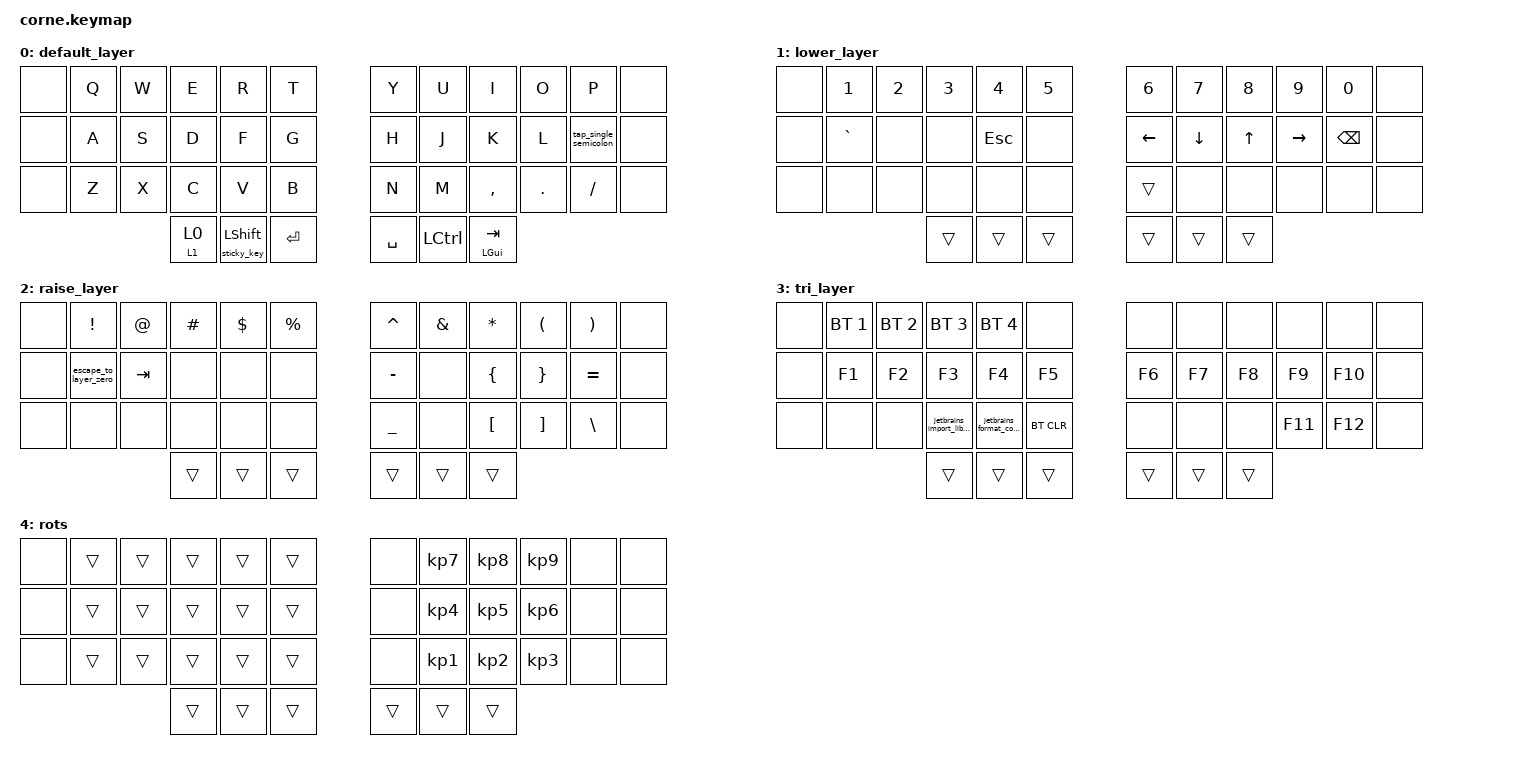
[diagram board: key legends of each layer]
/*
 * Copyright (c) 2020 The ZMK Contributors
 *
 * SPDX-License-Identifier: MIT
 */

#include <behaviors.dtsi>
#include <dt-bindings/zmk/bt.h>
#include <dt-bindings/zmk/keys.h>

/ {
    behaviors {
        hm: homerow_mods {
            compatible = "zmk,behavior-hold-tap";
            label = "Homerow Mods";
            #binding-cells = <2>;
            tapping-term-ms = <200>;
            quick-tap-ms = <0>;
            flavor = "tap-preferred";
            bindings = <&kp>, <&kp>;
        };

        tap_single_semicolon: tap_single_semicolon {
            compatible = "zmk,behavior-tap-dance";
            label = "TAP_SINGLE_SEMICOLON";
            #binding-cells = <0>;
            bindings = <&kp SEMICOLON>, <&kp SINGLE_QUOTE>;

            tapping-term-ms = <200>;
        };

        tap_hold_layers: tap_hold_layers {
            compatible = "zmk,behavior-hold-tap";
            label = "TAP_HOLD_LAYERS";
            bindings = <&mo>, <&to>;

            #binding-cells = <2>;
            tapping-term-ms = <150>;
            flavor = "tap-preferred";
        };

        sticky_key: sticky_key {
            compatible = "zmk,behavior-sticky-key";
            label = "STICKY_KEY";
            bindings = <&kp>;
            #binding-cells = <1>;
            quick-release;
            ignore-modifiers;
            release-after-ms = <1000>;
        };

        tap_hold_kp: tap_hold_kp {
            compatible = "zmk,behavior-hold-tap";
            label = "TAP_HOLD_KP";
            bindings = <&kp>, <&kp>;

            #binding-cells = <2>;
            tapping-term-ms = <150>;
            flavor = "tap-preferred";
        };
    };

    combos {
        compatible = "zmk,combos";

        alt_tab {
            bindings = <&kp LA(TAB)>;
            key-positions = <38 13>;
            layers = <0 1 3 2>;
            timeout-ms = <500>;
        };

        toggle_default_layer {
            bindings = <&to 0>;
            key-positions = <13 36>;
            layers = <0 2 3 1>;
            timeout-ms = <1000>;
        };

        toggle_lower_layer {
            bindings = <&to 1>;
            key-positions = <14 36>;
            timeout-ms = <1000>;
            layers = <0 2 3 1>;
        };

        toggle_raised_layer {
            bindings = <&to 2>;
            key-positions = <15 36>;
            timeout-ms = <1000>;
            layers = <0 2 3 1>;
        };

        toggle_tri_layer {
            bindings = <&to 3>;
            key-positions = <16 36>;
            timeout-ms = <1000>;
            layers = <0 2 1 3>;
        };

        toggle_rots_layer {
            bindings = <&to 4>;
            key-positions = <36 17>;
            timeout-ms = <1000>;
            layers = <0 1 2 3 4>;
        };
    };

    macros {
        escape_to_layer_zero: escape_to_layer_zero {
            compatible = "zmk,behavior-macro";
            #binding-cells = <0>;
            bindings = <&kp ESCAPE &to 0>;
            label = "ESCAPE_TO_LAYER_ZERO";
        };

        jetbrains_format_code: jetbrains_format_code {
            compatible = "zmk,behavior-macro";
            #binding-cells = <0>;
            bindings = <&kp LC(LA(L)) &to 0>;
            label = "JETBRAINS_FORMAT_CODE";
        };

        jetbrains_import_library: jetbrains_import_library {
            compatible = "zmk,behavior-macro";
            #binding-cells = <0>;
            bindings = <&kp LA(ENTER) &to 0>;
            label = "JETBRAINS_IMPORT_LIBRARY";
        };
    };

    keymap {
        compatible = "zmk,keymap";

        default_layer {
            // -----------------------------------------------------------------------------------------
            // |  TAB |  Q  |  W  |  E  |  R  |  T  |   |  Y  |  U   |  I  |  O  |  P  | BKSP |
            // | CTRL |  A  |  S  |  D  |  F  |  G  |   |  H  |  J   |  K  |  L  |  ;  |  '   |
            // | SHFT |  Z  |  X  |  C  |  V  |  B  |   |  N  |  M   |  ,  |  .  |  /  | ESC  |
            //                    | GUI | LWR | SPC |   | ENT | RSE  | ALT |

            bindings = <
&none  &kp Q  &kp W  &kp E                 &kp R              &kp T         &kp Y      &kp U      &kp I                  &kp O    &kp P                  &none
&none  &kp A  &kp S  &kp D                 &kp F              &kp G         &kp H      &kp J      &kp K                  &kp L    &tap_single_semicolon  &none
&none  &kp Z  &kp X  &kp C                 &kp V              &kp B         &kp N      &kp M      &kp COMMA              &kp DOT  &kp SLASH              &none
                     &tap_hold_layers 1 0  &sticky_key LSHFT  &kp RETURN    &kp SPACE  &kp LCTRL  &tap_hold_kp LGUI TAB
            >;
        };

        lower_layer {
            // -----------------------------------------------------------------------------------------
            // |  TAB |  1  |  2  |  3  |  4  |  5  |   |  6  |  7  |  8  |  9  |  0  | BKSP |
            // | BTCLR| BT1 | BT2 | BT3 | BT4 | BT5 |   | LFT | DWN |  UP | RGT |     |      |
            // | SHFT |     |     |     |     |     |   |     |     |     |     |     |      |
            //                    | GUI |     | SPC |   | ENT |     | ALT |

            bindings = <
&none  &kp N1     &kp N2  &kp N3  &kp N4   &kp N5    &kp N6    &kp N7    &kp N8  &kp N9     &kp N0         &none
&none  &kp GRAVE  &none   &none   &kp ESC  &none     &kp LEFT  &kp DOWN  &kp UP  &kp RIGHT  &kp BACKSPACE  &none
&none  &none      &none   &none   &none    &none     &trans    &none     &none   &none      &none          &none
                          &trans  &trans   &trans    &trans    &trans    &trans
            >;
        };

        raise_layer {
            // -----------------------------------------------------------------------------------------
            // |  TAB |  !  |  @  |  #  |  $  |  %  |   |  ^  |  &  |  *  |  (  |  )  | BKSP |
            // | CTRL |     |     |     |     |     |   |  -  |  =  |  [  |  ]  |  \  |  `   |
            // | SHFT |     |     |     |     |     |   |  _  |  +  |  {  |  }  | "|" |  ~   |
            //                    | GUI |     | SPC |   | ENT |     | ALT |

            bindings = <
&none  &kp EXCL               &kp AT   &kp HASH  &kp DOLLAR  &kp PERCENT    &kp CARET       &kp AMPERSAND  &kp STAR          &kp LEFT_PARENTHESIS  &kp RIGHT_PARENTHESIS  &none
&none  &escape_to_layer_zero  &kp TAB  &none     &none       &none          &kp MINUS       &none          &kp LEFT_BRACE    &kp RIGHT_BRACE       &kp EQUAL              &none
&none  &none                  &none    &none     &none       &none          &kp UNDERSCORE  &none          &kp LEFT_BRACKET  &kp RIGHT_BRACKET     &kp BACKSLASH          &none
                                       &trans    &trans      &trans         &trans          &trans         &trans
            >;
        };

        tri_layer {
            bindings = <
&none  &bt BT_SEL 1  &bt BT_SEL 2  &bt BT_SEL 3               &bt BT_SEL 4            &none         &none   &none   &none   &none    &none    &none
&none  &kp F1        &kp F2        &kp F3                     &kp F4                  &kp F5        &kp F6  &kp F7  &kp F8  &kp F9   &kp F10  &none
&none  &none         &none         &jetbrains_import_library  &jetbrains_format_code  &bt BT_CLR    &none   &none   &none   &kp F11  &kp F12  &none
                                   &trans                     &trans                  &trans        &trans  &trans  &trans
            >;
        };

        rots {
            bindings = <
&none  &trans  &trans  &trans  &trans  &trans    &none   &kp KP_NUMBER_7  &kp KP_N8  &kp KP_N9  &none  &none
&none  &trans  &trans  &trans  &trans  &trans    &none   &kp KP_NUMBER_4  &kp KP_N5  &kp KP_N6  &none  &none
&none  &trans  &trans  &trans  &trans  &trans    &none   &kp KP_N1        &kp KP_N2  &kp KP_N3  &none  &none
                       &trans  &trans  &trans    &trans  &trans           &trans
            >;
        };
    };

    conditional_layers {
        compatible = "zmk,conditional-layers";
    };
};
